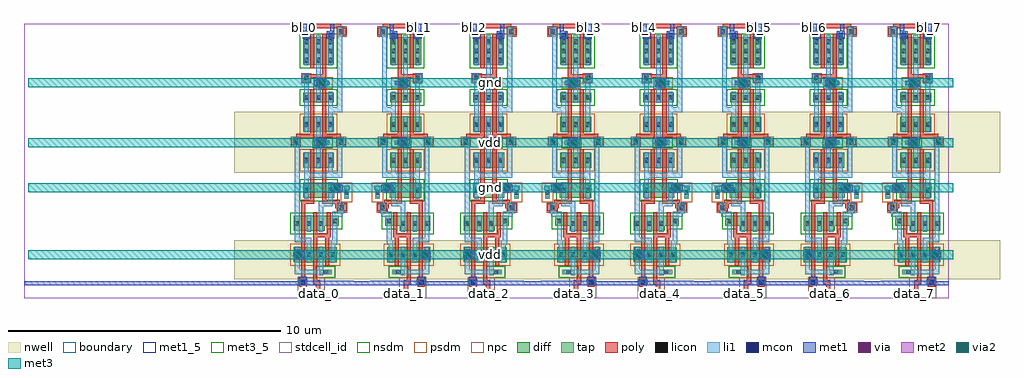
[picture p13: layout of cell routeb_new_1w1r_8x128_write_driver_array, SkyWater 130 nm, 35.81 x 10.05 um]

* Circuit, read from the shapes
.subckt routeb_new_1w1r_8x128_write_driver_array bl_0 bl_1 bl_2 bl_3 bl_4 bl_5 bl_6 bl_7 br_0 br_1 br_2 br_3 br_4 br_5 br_6 br_7 data_0 data_1 data_2 data_3 data_4 data_5 data_6 data_7 en gnd vdd
XM1 n1 en n2 gnd sky130_fd_pr__nfet_01v8 w=0.55 l=0.15
XM2 n3 en n4 gnd sky130_fd_pr__nfet_01v8 w=0.55 l=0.15
XM3 gnd n2 n5 gnd sky130_fd_pr__nfet_01v8 w=0.36 l=0.15
XM4 gnd n6 bl_0 gnd sky130_fd_pr__nfet_01v8 w=1 l=0.15
XM5 gnd data_0 n1 gnd sky130_fd_pr__nfet_01v8 w=0.55 l=0.15
XM6 gnd n7 n3 gnd sky130_fd_pr__nfet_01v8 w=0.55 l=0.15
XM7 n6 n4 gnd gnd sky130_fd_pr__nfet_01v8 w=0.36 l=0.15
XM8 br_0 n5 gnd gnd sky130_fd_pr__nfet_01v8 w=1 l=0.15
XM9 n7 data_0 gnd gnd sky130_fd_pr__nfet_01v8 w=0.36 l=0.15
XM10 gnd data_1 n8 gnd sky130_fd_pr__nfet_01v8 w=0.36 l=0.15
XM11 n9 n8 gnd gnd sky130_fd_pr__nfet_01v8 w=0.55 l=0.15
XM12 gnd n10 n11 gnd sky130_fd_pr__nfet_01v8 w=0.36 l=0.15
XM13 gnd n12 br_1 gnd sky130_fd_pr__nfet_01v8 w=1 l=0.15
XM14 n13 data_1 gnd gnd sky130_fd_pr__nfet_01v8 w=0.55 l=0.15
XM15 n10 en n9 gnd sky130_fd_pr__nfet_01v8 w=0.55 l=0.15
XM16 n12 n14 gnd gnd sky130_fd_pr__nfet_01v8 w=0.36 l=0.15
XM17 bl_1 n11 gnd gnd sky130_fd_pr__nfet_01v8 w=1 l=0.15
XM18 n14 en n13 gnd sky130_fd_pr__nfet_01v8 w=0.55 l=0.15
XM19 n15 en n16 gnd sky130_fd_pr__nfet_01v8 w=0.55 l=0.15
XM20 n17 en n18 gnd sky130_fd_pr__nfet_01v8 w=0.55 l=0.15
XM21 gnd n16 n19 gnd sky130_fd_pr__nfet_01v8 w=0.36 l=0.15
XM22 gnd n20 bl_2 gnd sky130_fd_pr__nfet_01v8 w=1 l=0.15
XM23 gnd data_2 n15 gnd sky130_fd_pr__nfet_01v8 w=0.55 l=0.15
XM24 gnd n21 n17 gnd sky130_fd_pr__nfet_01v8 w=0.55 l=0.15
XM25 n20 n18 gnd gnd sky130_fd_pr__nfet_01v8 w=0.36 l=0.15
XM26 br_2 n19 gnd gnd sky130_fd_pr__nfet_01v8 w=1 l=0.15
XM27 n21 data_2 gnd gnd sky130_fd_pr__nfet_01v8 w=0.36 l=0.15
XM28 gnd data_3 n22 gnd sky130_fd_pr__nfet_01v8 w=0.36 l=0.15
XM29 n23 n22 gnd gnd sky130_fd_pr__nfet_01v8 w=0.55 l=0.15
XM30 gnd n24 n25 gnd sky130_fd_pr__nfet_01v8 w=0.36 l=0.15
XM31 gnd n26 br_3 gnd sky130_fd_pr__nfet_01v8 w=1 l=0.15
XM32 n27 data_3 gnd gnd sky130_fd_pr__nfet_01v8 w=0.55 l=0.15
XM33 n24 en n23 gnd sky130_fd_pr__nfet_01v8 w=0.55 l=0.15
XM34 n26 n28 gnd gnd sky130_fd_pr__nfet_01v8 w=0.36 l=0.15
XM35 bl_3 n25 gnd gnd sky130_fd_pr__nfet_01v8 w=1 l=0.15
XM36 n28 en n27 gnd sky130_fd_pr__nfet_01v8 w=0.55 l=0.15
XM37 n29 en n30 gnd sky130_fd_pr__nfet_01v8 w=0.55 l=0.15
XM38 n31 en n32 gnd sky130_fd_pr__nfet_01v8 w=0.55 l=0.15
XM39 gnd n30 n33 gnd sky130_fd_pr__nfet_01v8 w=0.36 l=0.15
XM40 gnd n34 bl_4 gnd sky130_fd_pr__nfet_01v8 w=1 l=0.15
XM41 gnd data_4 n29 gnd sky130_fd_pr__nfet_01v8 w=0.55 l=0.15
XM42 gnd n35 n31 gnd sky130_fd_pr__nfet_01v8 w=0.55 l=0.15
XM43 n34 n32 gnd gnd sky130_fd_pr__nfet_01v8 w=0.36 l=0.15
XM44 br_4 n33 gnd gnd sky130_fd_pr__nfet_01v8 w=1 l=0.15
XM45 n35 data_4 gnd gnd sky130_fd_pr__nfet_01v8 w=0.36 l=0.15
XM46 gnd data_5 n36 gnd sky130_fd_pr__nfet_01v8 w=0.36 l=0.15
XM47 n37 n36 gnd gnd sky130_fd_pr__nfet_01v8 w=0.55 l=0.15
XM48 gnd n38 n39 gnd sky130_fd_pr__nfet_01v8 w=0.36 l=0.15
XM49 gnd n40 br_5 gnd sky130_fd_pr__nfet_01v8 w=1 l=0.15
XM50 n41 data_5 gnd gnd sky130_fd_pr__nfet_01v8 w=0.55 l=0.15
XM51 n38 en n37 gnd sky130_fd_pr__nfet_01v8 w=0.55 l=0.15
XM52 n40 n42 gnd gnd sky130_fd_pr__nfet_01v8 w=0.36 l=0.15
XM53 bl_5 n39 gnd gnd sky130_fd_pr__nfet_01v8 w=1 l=0.15
XM54 n42 en n41 gnd sky130_fd_pr__nfet_01v8 w=0.55 l=0.15
XM55 n43 en n44 gnd sky130_fd_pr__nfet_01v8 w=0.55 l=0.15
XM56 n45 en n46 gnd sky130_fd_pr__nfet_01v8 w=0.55 l=0.15
XM57 gnd n44 n47 gnd sky130_fd_pr__nfet_01v8 w=0.36 l=0.15
XM58 gnd n48 bl_6 gnd sky130_fd_pr__nfet_01v8 w=1 l=0.15
XM59 gnd data_6 n43 gnd sky130_fd_pr__nfet_01v8 w=0.55 l=0.15
XM60 gnd n49 n45 gnd sky130_fd_pr__nfet_01v8 w=0.55 l=0.15
XM61 n48 n46 gnd gnd sky130_fd_pr__nfet_01v8 w=0.36 l=0.15
XM62 br_6 n47 gnd gnd sky130_fd_pr__nfet_01v8 w=1 l=0.15
XM63 n49 data_6 gnd gnd sky130_fd_pr__nfet_01v8 w=0.36 l=0.15
XM64 gnd data_7 n50 gnd sky130_fd_pr__nfet_01v8 w=0.36 l=0.15
XM65 n51 n50 gnd gnd sky130_fd_pr__nfet_01v8 w=0.55 l=0.15
XM66 gnd n52 n53 gnd sky130_fd_pr__nfet_01v8 w=0.36 l=0.15
XM67 gnd n54 br_7 gnd sky130_fd_pr__nfet_01v8 w=1 l=0.15
XM68 n55 data_7 gnd gnd sky130_fd_pr__nfet_01v8 w=0.55 l=0.15
XM69 n52 en n51 gnd sky130_fd_pr__nfet_01v8 w=0.55 l=0.15
XM70 n54 n56 gnd gnd sky130_fd_pr__nfet_01v8 w=0.36 l=0.15
XM71 bl_7 n53 gnd gnd sky130_fd_pr__nfet_01v8 w=1 l=0.15
XM72 n56 en n55 gnd sky130_fd_pr__nfet_01v8 w=0.55 l=0.15
XM73 n2 en vdd vdd sky130_fd_pr__pfet_01v8 w=0.55 l=0.15
XM74 vdd en n4 vdd sky130_fd_pr__pfet_01v8 w=0.55 l=0.15
XM75 vdd n2 n5 vdd sky130_fd_pr__pfet_01v8 w=0.55 l=0.15
XM76 vdd data_0 n2 vdd sky130_fd_pr__pfet_01v8 w=0.55 l=0.15
XM77 n4 n7 vdd vdd sky130_fd_pr__pfet_01v8 w=0.55 l=0.15
XM78 n6 n4 vdd vdd sky130_fd_pr__pfet_01v8 w=0.55 l=0.15
XM79 n7 data_0 vdd vdd sky130_fd_pr__pfet_01v8 w=0.55 l=0.15
XM80 vdd data_1 n8 vdd sky130_fd_pr__pfet_01v8 w=0.55 l=0.15
XM81 vdd n8 n10 vdd sky130_fd_pr__pfet_01v8 w=0.55 l=0.15
XM82 vdd n10 n11 vdd sky130_fd_pr__pfet_01v8 w=0.55 l=0.15
XM83 n14 data_1 vdd vdd sky130_fd_pr__pfet_01v8 w=0.55 l=0.15
XM84 n10 en vdd vdd sky130_fd_pr__pfet_01v8 w=0.55 l=0.15
XM85 n12 n14 vdd vdd sky130_fd_pr__pfet_01v8 w=0.55 l=0.15
XM86 vdd en n14 vdd sky130_fd_pr__pfet_01v8 w=0.55 l=0.15
XM87 n16 en vdd vdd sky130_fd_pr__pfet_01v8 w=0.55 l=0.15
XM88 vdd en n18 vdd sky130_fd_pr__pfet_01v8 w=0.55 l=0.15
XM89 vdd n16 n19 vdd sky130_fd_pr__pfet_01v8 w=0.55 l=0.15
XM90 vdd data_2 n16 vdd sky130_fd_pr__pfet_01v8 w=0.55 l=0.15
XM91 n18 n21 vdd vdd sky130_fd_pr__pfet_01v8 w=0.55 l=0.15
XM92 n20 n18 vdd vdd sky130_fd_pr__pfet_01v8 w=0.55 l=0.15
XM93 n21 data_2 vdd vdd sky130_fd_pr__pfet_01v8 w=0.55 l=0.15
XM94 vdd data_3 n22 vdd sky130_fd_pr__pfet_01v8 w=0.55 l=0.15
XM95 vdd n22 n24 vdd sky130_fd_pr__pfet_01v8 w=0.55 l=0.15
XM96 vdd n24 n25 vdd sky130_fd_pr__pfet_01v8 w=0.55 l=0.15
XM97 n28 data_3 vdd vdd sky130_fd_pr__pfet_01v8 w=0.55 l=0.15
XM98 n24 en vdd vdd sky130_fd_pr__pfet_01v8 w=0.55 l=0.15
XM99 n26 n28 vdd vdd sky130_fd_pr__pfet_01v8 w=0.55 l=0.15
XM100 vdd en n28 vdd sky130_fd_pr__pfet_01v8 w=0.55 l=0.15
XM101 n30 en vdd vdd sky130_fd_pr__pfet_01v8 w=0.55 l=0.15
XM102 vdd en n32 vdd sky130_fd_pr__pfet_01v8 w=0.55 l=0.15
XM103 vdd n30 n33 vdd sky130_fd_pr__pfet_01v8 w=0.55 l=0.15
XM104 vdd data_4 n30 vdd sky130_fd_pr__pfet_01v8 w=0.55 l=0.15
XM105 n32 n35 vdd vdd sky130_fd_pr__pfet_01v8 w=0.55 l=0.15
XM106 n34 n32 vdd vdd sky130_fd_pr__pfet_01v8 w=0.55 l=0.15
XM107 n35 data_4 vdd vdd sky130_fd_pr__pfet_01v8 w=0.55 l=0.15
XM108 vdd data_5 n36 vdd sky130_fd_pr__pfet_01v8 w=0.55 l=0.15
XM109 vdd n36 n38 vdd sky130_fd_pr__pfet_01v8 w=0.55 l=0.15
XM110 vdd n38 n39 vdd sky130_fd_pr__pfet_01v8 w=0.55 l=0.15
XM111 n42 data_5 vdd vdd sky130_fd_pr__pfet_01v8 w=0.55 l=0.15
XM112 n38 en vdd vdd sky130_fd_pr__pfet_01v8 w=0.55 l=0.15
XM113 n40 n42 vdd vdd sky130_fd_pr__pfet_01v8 w=0.55 l=0.15
XM114 vdd en n42 vdd sky130_fd_pr__pfet_01v8 w=0.55 l=0.15
XM115 n44 en vdd vdd sky130_fd_pr__pfet_01v8 w=0.55 l=0.15
XM116 vdd en n46 vdd sky130_fd_pr__pfet_01v8 w=0.55 l=0.15
XM117 vdd n44 n47 vdd sky130_fd_pr__pfet_01v8 w=0.55 l=0.15
XM118 vdd data_6 n44 vdd sky130_fd_pr__pfet_01v8 w=0.55 l=0.15
XM119 n46 n49 vdd vdd sky130_fd_pr__pfet_01v8 w=0.55 l=0.15
XM120 n48 n46 vdd vdd sky130_fd_pr__pfet_01v8 w=0.55 l=0.15
XM121 n49 data_6 vdd vdd sky130_fd_pr__pfet_01v8 w=0.55 l=0.15
XM122 vdd data_7 n50 vdd sky130_fd_pr__pfet_01v8 w=0.55 l=0.15
XM123 vdd n50 n52 vdd sky130_fd_pr__pfet_01v8 w=0.55 l=0.15
XM124 vdd n52 n53 vdd sky130_fd_pr__pfet_01v8 w=0.55 l=0.15
XM125 n56 data_7 vdd vdd sky130_fd_pr__pfet_01v8 w=0.55 l=0.15
XM126 n52 en vdd vdd sky130_fd_pr__pfet_01v8 w=0.55 l=0.15
XM127 n54 n56 vdd vdd sky130_fd_pr__pfet_01v8 w=0.55 l=0.15
XM128 vdd en n56 vdd sky130_fd_pr__pfet_01v8 w=0.55 l=0.15
.ends

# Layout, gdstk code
from math import pi, radians
import gdstk
lib = gdstk.Library(unit=1e-6, precision=1e-09)
def R(c, l, rs):  # rectangles x0, y0, x1, y1
    for r in rs: c.add(gdstk.rectangle(r[:2], r[2:], *l))
def A(c, l, x, y, w, h, nx, ny, dx, dy):  # array of equal rectangles
    R(c, l, [(x+i*dx, y+j*dy, x+i*dx+w, y+j*dy+h) for i in range(nx) for j in range(ny)])
nwell = (64, 20)
diff = (65, 20)
tap = (65, 44)
poly = (66, 20)
licon = (66, 44)
li1 = (67, 20)
mcon = (67, 44)
met1_5 = (68, 5)
met1 = (68, 20)
via = (68, 44)
met2 = (69, 20)
via2 = (69, 44)
met3_5 = (70, 5)
met3 = (70, 20)
stdcell_id = (81, 4)
nsdm = (93, 44)
psdm = (94, 20)
npc = (95, 20)
boundary = (235, 4)

sky130_fd_bd_sram__openr = lib.new_cell('sky130_fd_bd_sram__openram_write_driver')
R(sky130_fd_bd_sram__openr, nwell, [(-1.88,0.69,4.4,2.12), (-1.88,4.6,4.4,6.83)])
R(sky130_fd_bd_sram__openr, diff, [(0.305,1.31,1.88,1.86), (0.305,2.46,1.435,2.65), (0.305,2.65,1.955,3.01), (0.645,3.68,1.795,4.23), (0.645,4.78,1.78,5.33), (0.645,6.095,1.775,6.645), (0.645,7.175,1.775,7.535), (0.645,8.565,1.775,9.565)])
R(sky130_fd_bd_sram__openr, tap, [(1.245,0.87,1.705,1.04), (2.155,3.64,2.325,4.1), (1.125,5.62,1.605,5.79), (1.145,7.805,1.605,7.975)])
R(sky130_fd_bd_sram__openr, poly, [(1.115,0.02,1.425,0.32), (1.115,0.32,1.275,0.5), (0.505,0.42,0.775,0.74), (1.015,0.5,1.275,0.65), (1.015,0.65,1.165,2.23), (0.505,0.74,0.725,0.75), (0.575,0.75,0.725,3.45), (1.455,1.18,1.605,2.23), (1.015,2.23,1.665,2.38), (1.015,2.38,1.165,3.14), (1.515,2.38,1.665,3.14), (1.875,3.18,2.245,3.3), (1.825,3.3,2.245,3.45), (0.575,3.45,1.065,3.6), (1.355,3.45,1.995,3.6), (0.915,3.6,1.065,5.46), (1.355,3.6,1.505,5.46), (0.205,5.6,0.54,5.87), (1.885,5.6,2.215,5.72), (1.88,5.72,2.215,5.87), (0.39,5.87,1.065,6.02), (1.355,5.87,2.03,6.02), (0.915,6.02,1.065,7.665), (1.355,6.02,1.505,7.665), (0.605,7.925,0.935,8.055), (0.605,8.055,1.505,8.205), (1.355,8.205,1.505,9.695), (0.915,8.435,1.065,9.905), (1.895,9.645,2.225,9.905), (0.915,9.905,2.225,9.915), (0.915,9.915,2.045,10.055)])
A(sky130_fd_bd_sram__openr, licon, 0.345, 1.5, 0.17, 0.17, 4, 1, 0.44, 0)
A(sky130_fd_bd_sram__openr, licon, 0.345, 2.65, 0.17, 0.17, 3, 1, 0.44, 0)
A(sky130_fd_bd_sram__openr, licon, 0.685, 4.97, 0.17, 0.17, 3, 2, 0.44, 1.315)
A(sky130_fd_bd_sram__openr, licon, 0.685, 7.275, 0.17, 0.17, 3, 2, 0.44, 1.365)
A(sky130_fd_bd_sram__openr, licon, 0.685, 8.98, 0.17, 0.17, 3, 2, 0.44, 0.34)
R(sky130_fd_bd_sram__openr, licon, [(1.175,0.1,1.345,0.27), (0.555,0.5,0.725,0.67), (1.395,0.87,1.565,1.04), (1.725,2.745,1.895,2.915), (1.995,3.23,2.165,3.4), (2.155,3.78,2.325,3.95), (0.685,3.87,0.855,4.04), (1.565,3.87,1.735,4.04), (1.295,5.62,1.465,5.79), (0.285,5.65,0.455,5.82), (1.965,5.65,2.135,5.82), (1.295,7.805,1.465,7.975), (0.685,7.985,0.855,8.155), (1.975,9.695,2.145,9.865)])
R(sky130_fd_bd_sram__openr, li1, [(1.095,0.1,1.425,0.27), (0.47,0.5,0.805,0.67), (1.225,0.84,1.395,0.87), (0.345,0.87,1.645,1.04), (0.345,1.04,0.515,1.88), (1.225,1.04,1.395,1.88), (0.785,1.29,0.955,2.05), (1.665,1.29,1.835,1.95), (1.665,1.95,1.895,2.12), (0.345,2.05,0.955,2.22), (1.725,2.12,1.895,2.89), (0.345,2.22,0.515,5.57), (0.785,2.44,0.955,3.03), (1.225,2.44,1.395,3.4), (1.725,2.89,1.955,2.99), (1.725,2.99,2.105,3.11), (1.725,3.11,2.165,3.16), (1.935,3.16,2.165,3.49), (1.225,3.375,1.735,3.545), (1.565,3.4,1.735,3.95), (0.685,3.65,0.855,4.42), (2.155,3.7,2.325,3.95), (1.565,3.95,2.355,4.12), (1.565,4.12,1.735,4.25), (0.685,4.42,2.075,4.59), (0.685,4.59,0.855,5.35), (1.565,4.59,1.735,5.35), (1.905,4.59,2.075,5.57), (1.125,4.76,1.295,5.62), (0.285,5.57,0.515,5.9), (1.905,5.57,2.135,5.9), (1.125,5.62,1.545,5.79), (1.125,5.79,1.295,6.665), (0.685,6.08,0.855,7.9), (1.565,6.08,1.735,6.825), (1.565,6.825,2.075,6.995), (1.565,6.995,1.735,7.565), (1.905,6.995,2.075,9.615), (1.125,7.165,1.295,7.805), (1.125,7.805,1.545,7.975), (0.585,7.9,0.855,8.235), (1.125,7.975,1.295,9.635), (0.685,8.545,0.855,9.735), (1.565,8.545,1.735,9.735), (1.905,9.615,2.145,9.945)])
R(sky130_fd_bd_sram__openr, mcon, [(1.175,0.1,1.345,0.27), (0.555,0.5,0.725,0.67), (0.345,1.5,0.515,1.67), (1.8,3.95,1.97,4.12), (1.125,5.62,1.295,5.79), (1.125,7.805,1.295,7.975), (0.685,9.565,0.855,9.735), (1.565,9.565,1.735,9.735)])
R(sky130_fd_bd_sram__openr, met1_5, [(1.115,0.02,1.415,0.3), (0.495,0.47,2.5,0.64), (0.285,1.47,0.715,1.7), (1.67,3.945,2.1,4.15), (1.065,5.59,1.495,5.82), (1.065,7.805,1.605,7.975), (0.63,9.795,0.78,10.055), (1.64,9.795,1.79,10.055)])
R(sky130_fd_bd_sram__openr, met1, [(1.115,0.02,1.415,0.3), (1.115,0.02,1.415,0.3), (0.495,0.47,2.5,0.64), (0.495,0.47,2.5,0.64), (0.495,0.64,0.785,0.78), (0.285,1.47,0.715,1.7), (0.285,1.47,0.715,1.7), (1.735,3.92,2.1,3.945), (1.67,3.945,2.1,4.15), (1.67,3.945,2.1,4.15), (1.065,5.59,1.495,5.82), (1.065,5.59,1.495,5.82), (1.065,7.775,1.495,7.805), (1.065,7.805,1.605,7.975), (1.065,7.805,1.605,7.975), (1.065,7.975,1.495,8.005), (0.625,9.505,0.91,9.795), (1.51,9.505,1.795,9.795), (0.63,9.795,0.78,10.055), (0.63,9.795,0.78,10.055), (1.64,9.795,1.79,10.055), (1.64,9.795,1.79,10.055)])
R(sky130_fd_bd_sram__openr, stdcell_id, [(0,0,2.5,10.055)])
R(sky130_fd_bd_sram__openr, nsdm, [(1.12,0.745,1.83,1.165), (0.18,2.335,1.56,2.525), (0.18,2.525,2.08,3.135), (0.52,3.555,1.92,4.355), (1,5.495,1.73,5.915), (0.52,7.05,1.9,7.66), (0.52,8.44,1.9,9.69)])
R(sky130_fd_bd_sram__openr, psdm, [(0.18,1.185,2.005,1.985), (2.03,3.515,2.45,4.225), (0.52,4.655,1.905,5.455), (0.52,5.97,1.9,6.77), (1.02,7.68,1.73,8.1)])
R(sky130_fd_bd_sram__openr, npc, [(0.455,0,1.445,0.77), (1.895,3.13,2.265,3.5), (0.185,5.55,0.555,5.92), (1.865,5.55,2.235,5.92), (0.585,7.885,0.955,8.255), (1.875,9.595,2.245,9.965)])
R(sky130_fd_bd_sram__openr, boundary, [(0,0,2.5,10.055)])
sky130_fd_bd_sram__openr.add(gdstk.Label('DIN', (1.265,0.06), layer=68, texttype=16))
sky130_fd_bd_sram__openr.add(gdstk.Label('VDD', (0.54,1.585), layer=68, texttype=16))
sky130_fd_bd_sram__openr.add(gdstk.Label('BL', (0.7,9.905), layer=68, texttype=16))
sky130_fd_bd_sram__openr.add(gdstk.Label('BR', (1.7,9.865), layer=68, texttype=16))
sky130_fd_bd_sram__openr.add(gdstk.Label('EN', (0.53,0.59), layer=68, texttype=16))
sky130_fd_bd_sram__openr.add(gdstk.Label('GND', (1.965,4.135), layer=68, texttype=16))
sky130_fd_bd_sram__openr.add(gdstk.Label('GND', (1.1,7.885), layer=68, texttype=16))
sky130_fd_bd_sram__openr.add(gdstk.Label('VDD', (1.1,5.7), layer=68, texttype=16))
sky130_fd_bd_sram__openr.add(gdstk.Label('din', (1.265,0.16), layer=68, texttype=5))
sky130_fd_bd_sram__openr.add(gdstk.Label('bl', (0.705,9.925), layer=68, texttype=5))
sky130_fd_bd_sram__openr.add(gdstk.Label('br', (1.715,9.925), layer=68, texttype=5))
sky130_fd_bd_sram__openr.add(gdstk.Label('en', (1.498,0.555), layer=68, texttype=5))
sky130_fd_bd_sram__openr.add(gdstk.Label('vdd', (0.5,1.585), layer=68, texttype=5))
sky130_fd_bd_sram__openr.add(gdstk.Label('vdd', (1.28,5.705), layer=68, texttype=5))
sky130_fd_bd_sram__openr.add(gdstk.Label('gnd', (1.885,4.048), layer=68, texttype=5))
sky130_fd_bd_sram__openr.add(gdstk.Label('gnd', (1.335,7.89), layer=68, texttype=5))

routeb_new_1w1r_8x128_co = lib.new_cell('routeb_new_1w1r_8x128_contact_18')
R(routeb_new_1w1r_8x128_co, met1, [(0,0.03,0.32,0.29)])
R(routeb_new_1w1r_8x128_co, via, [(0.085,0.085,0.235,0.235)])
R(routeb_new_1w1r_8x128_co, met2, [(0.03,0,0.29,0.32)])
R(routeb_new_1w1r_8x128_co, stdcell_id, [(0,0,0.32,0.32)])
R(routeb_new_1w1r_8x128_co, boundary, [(0,0,0.32,0.32)])

c_routeb_new_1w1r_8x128_co = lib.new_cell('routeb_new_1w1r_8x128_contact_21')
R(c_routeb_new_1w1r_8x128_co, met2, [(0.025,0,0.305,0.37)])
R(c_routeb_new_1w1r_8x128_co, via2, [(0.065,0.085,0.265,0.285)])
R(c_routeb_new_1w1r_8x128_co, met3, [(0,0.02,0.33,0.35)])
R(c_routeb_new_1w1r_8x128_co, stdcell_id, [(0,0,0.33,0.37)])
R(c_routeb_new_1w1r_8x128_co, boundary, [(0,0,0.33,0.37)])

routeb_new_1w1r_8x128_wr = lib.new_cell('routeb_new_1w1r_8x128_write_driver_array')
R(routeb_new_1w1r_8x128_wr, met1_5, [(10.71,0.02,11.01,0.3), (13.8,0.02,14.1,0.3), (16.95,0.02,17.25,0.3), (20.04,0.02,20.34,0.3), (23.19,0.02,23.49,0.3), (26.28,0.02,26.58,0.3), (29.43,0.02,29.73,0.3), (32.52,0.02,32.82,0.3), (0,0.47,33.935,0.61), (10.225,9.795,10.375,10.055), (11.235,9.795,11.385,10.055), (13.425,9.795,13.575,10.055), (14.435,9.795,14.585,10.055), (16.465,9.795,16.615,10.055), (17.475,9.795,17.625,10.055), (19.665,9.795,19.815,10.055), (20.675,9.795,20.825,10.055), (22.705,9.795,22.855,10.055), (23.715,9.795,23.865,10.055), (25.905,9.795,26.055,10.055), (26.915,9.795,27.065,10.055), (28.945,9.795,29.095,10.055), (29.955,9.795,30.105,10.055), (32.145,9.795,32.295,10.055), (33.155,9.795,33.305,10.055)])
R(routeb_new_1w1r_8x128_wr, met1, [(10.71,0.02,11.01,0.3), (13.8,0.02,14.1,0.3), (16.95,0.02,17.25,0.3), (20.04,0.02,20.34,0.3), (23.19,0.02,23.49,0.3), (26.28,0.02,26.58,0.3), (29.43,0.02,29.73,0.3), (32.52,0.02,32.82,0.3), (0,0.47,33.935,0.61), (9.935,1.455,10.255,1.715), (14.555,1.455,14.875,1.715), (16.175,1.455,16.495,1.715), (20.795,1.455,21.115,1.715), (22.415,1.455,22.735,1.715), (27.035,1.455,27.355,1.715), (28.655,1.455,28.975,1.715), (33.275,1.455,33.595,1.715), (11.32,3.92,11.64,4.18), (13.17,3.92,13.49,4.18), (17.56,3.92,17.88,4.18), (19.41,3.92,19.73,4.18), (23.8,3.92,24.12,4.18), (25.65,3.92,25.97,4.18), (30.04,3.92,30.36,4.18), (31.89,3.92,32.21,4.18), (10.715,5.575,11.035,5.835), (13.775,5.575,14.095,5.835), (16.955,5.575,17.275,5.835), (20.015,5.575,20.335,5.835), (23.195,5.575,23.515,5.835), (26.255,5.575,26.575,5.835), (29.435,5.575,29.755,5.835), (32.495,5.575,32.815,5.835), (10.77,7.76,11.09,8.02), (13.72,7.76,14.04,8.02), (17.01,7.76,17.33,8.02), (19.96,7.76,20.28,8.02), (23.25,7.76,23.57,8.02), (26.2,7.76,26.52,8.02), (29.49,7.76,29.81,8.02), (32.44,7.76,32.76,8.02), (10.225,9.795,10.375,10.055), (11.235,9.795,11.385,10.055), (13.425,9.795,13.575,10.055), (14.435,9.795,14.585,10.055), (16.465,9.795,16.615,10.055), (17.475,9.795,17.625,10.055), (19.665,9.795,19.815,10.055), (20.675,9.795,20.825,10.055), (22.705,9.795,22.855,10.055), (23.715,9.795,23.865,10.055), (25.905,9.795,26.055,10.055), (26.915,9.795,27.065,10.055), (28.945,9.795,29.095,10.055), (29.955,9.795,30.105,10.055), (32.145,9.795,32.295,10.055), (33.155,9.795,33.305,10.055)])
R(routeb_new_1w1r_8x128_wr, met2, [(9.955,1.46,10.235,1.705), (14.575,1.46,14.855,1.705), (16.195,1.46,16.475,1.705), (20.815,1.46,21.095,1.705), (22.435,1.46,22.715,1.705), (27.055,1.46,27.335,1.705), (28.675,1.46,28.955,1.705), (33.295,1.46,33.575,1.705), (11.34,3.925,11.62,4.17), (13.19,3.925,13.47,4.17), (17.58,3.925,17.86,4.17), (19.43,3.925,19.71,4.17), (23.82,3.925,24.1,4.17), (25.67,3.925,25.95,4.17), (30.06,3.925,30.34,4.17), (31.91,3.925,32.19,4.17), (10.735,5.58,11.015,5.825), (13.795,5.58,14.075,5.825), (16.975,5.58,17.255,5.825), (20.035,5.58,20.315,5.825), (23.215,5.58,23.495,5.825), (26.275,5.58,26.555,5.825), (29.455,5.58,29.735,5.825), (32.515,5.58,32.795,5.825), (10.79,7.77,11.07,8.015), (13.74,7.77,14.02,8.015), (17.03,7.77,17.31,8.015), (19.98,7.77,20.26,8.015), (23.27,7.77,23.55,8.015), (26.22,7.77,26.5,8.015), (29.51,7.77,29.79,8.015), (32.46,7.77,32.74,8.015)])
R(routeb_new_1w1r_8x128_wr, met3_5, [(0.165,1.42,34.1,1.75), (0.165,3.88,34.1,4.21), (0.165,5.54,34.1,5.87), (0.165,7.725,34.1,8.055)])
R(routeb_new_1w1r_8x128_wr, met3, [(0.165,1.42,34.1,1.75), (0.165,3.88,34.1,4.21), (0.165,5.54,34.1,5.87), (0.165,7.725,34.1,8.055)])
R(routeb_new_1w1r_8x128_wr, stdcell_id, [(0,0,33.935,10.055)])
R(routeb_new_1w1r_8x128_wr, boundary, [(0,0,33.935,10.055)])
routeb_new_1w1r_8x128_wr.add(gdstk.Reference(sky130_fd_bd_sram__openr, (9.595,0)))
routeb_new_1w1r_8x128_wr.add(gdstk.Reference(sky130_fd_bd_sram__openr, (15.215,0), rotation=pi, x_reflection=True))
routeb_new_1w1r_8x128_wr.add(gdstk.Reference(sky130_fd_bd_sram__openr, (15.835,0)))
routeb_new_1w1r_8x128_wr.add(gdstk.Reference(sky130_fd_bd_sram__openr, (21.455,0), rotation=pi, x_reflection=True))
routeb_new_1w1r_8x128_wr.add(gdstk.Reference(sky130_fd_bd_sram__openr, (22.075,0)))
routeb_new_1w1r_8x128_wr.add(gdstk.Reference(sky130_fd_bd_sram__openr, (27.695,0), rotation=pi, x_reflection=True))
routeb_new_1w1r_8x128_wr.add(gdstk.Reference(sky130_fd_bd_sram__openr, (28.315,0)))
routeb_new_1w1r_8x128_wr.add(gdstk.Reference(sky130_fd_bd_sram__openr, (33.935,0), rotation=pi, x_reflection=True))
routeb_new_1w1r_8x128_wr.add(gdstk.Reference(routeb_new_1w1r_8x128_co, (9.935,1.425)))
routeb_new_1w1r_8x128_wr.add(gdstk.Reference(c_routeb_new_1w1r_8x128_co, (9.93,1.4)))
routeb_new_1w1r_8x128_wr.add(gdstk.Reference(routeb_new_1w1r_8x128_co, (14.555,1.425)))
routeb_new_1w1r_8x128_wr.add(gdstk.Reference(c_routeb_new_1w1r_8x128_co, (14.55,1.4)))
routeb_new_1w1r_8x128_wr.add(gdstk.Reference(routeb_new_1w1r_8x128_co, (16.175,1.425)))
routeb_new_1w1r_8x128_wr.add(gdstk.Reference(c_routeb_new_1w1r_8x128_co, (16.17,1.4)))
routeb_new_1w1r_8x128_wr.add(gdstk.Reference(routeb_new_1w1r_8x128_co, (20.795,1.425)))
routeb_new_1w1r_8x128_wr.add(gdstk.Reference(c_routeb_new_1w1r_8x128_co, (20.79,1.4)))
routeb_new_1w1r_8x128_wr.add(gdstk.Reference(routeb_new_1w1r_8x128_co, (22.415,1.425)))
routeb_new_1w1r_8x128_wr.add(gdstk.Reference(c_routeb_new_1w1r_8x128_co, (22.41,1.4)))
routeb_new_1w1r_8x128_wr.add(gdstk.Reference(routeb_new_1w1r_8x128_co, (27.035,1.425)))
routeb_new_1w1r_8x128_wr.add(gdstk.Reference(c_routeb_new_1w1r_8x128_co, (27.03,1.4)))
routeb_new_1w1r_8x128_wr.add(gdstk.Reference(routeb_new_1w1r_8x128_co, (28.655,1.425)))
routeb_new_1w1r_8x128_wr.add(gdstk.Reference(c_routeb_new_1w1r_8x128_co, (28.65,1.4)))
routeb_new_1w1r_8x128_wr.add(gdstk.Reference(routeb_new_1w1r_8x128_co, (33.275,1.425)))
routeb_new_1w1r_8x128_wr.add(gdstk.Reference(c_routeb_new_1w1r_8x128_co, (33.27,1.4)))
routeb_new_1w1r_8x128_wr.add(gdstk.Reference(routeb_new_1w1r_8x128_co, (10.715,5.545)))
routeb_new_1w1r_8x128_wr.add(gdstk.Reference(c_routeb_new_1w1r_8x128_co, (10.71,5.52)))
routeb_new_1w1r_8x128_wr.add(gdstk.Reference(routeb_new_1w1r_8x128_co, (13.775,5.545)))
routeb_new_1w1r_8x128_wr.add(gdstk.Reference(c_routeb_new_1w1r_8x128_co, (13.77,5.52)))
routeb_new_1w1r_8x128_wr.add(gdstk.Reference(routeb_new_1w1r_8x128_co, (16.955,5.545)))
routeb_new_1w1r_8x128_wr.add(gdstk.Reference(c_routeb_new_1w1r_8x128_co, (16.95,5.52)))
routeb_new_1w1r_8x128_wr.add(gdstk.Reference(routeb_new_1w1r_8x128_co, (20.015,5.545)))
routeb_new_1w1r_8x128_wr.add(gdstk.Reference(c_routeb_new_1w1r_8x128_co, (20.01,5.52)))
routeb_new_1w1r_8x128_wr.add(gdstk.Reference(routeb_new_1w1r_8x128_co, (23.195,5.545)))
routeb_new_1w1r_8x128_wr.add(gdstk.Reference(c_routeb_new_1w1r_8x128_co, (23.19,5.52)))
routeb_new_1w1r_8x128_wr.add(gdstk.Reference(routeb_new_1w1r_8x128_co, (26.255,5.545)))
routeb_new_1w1r_8x128_wr.add(gdstk.Reference(c_routeb_new_1w1r_8x128_co, (26.25,5.52)))
routeb_new_1w1r_8x128_wr.add(gdstk.Reference(routeb_new_1w1r_8x128_co, (29.435,5.545)))
routeb_new_1w1r_8x128_wr.add(gdstk.Reference(c_routeb_new_1w1r_8x128_co, (29.43,5.52)))
routeb_new_1w1r_8x128_wr.add(gdstk.Reference(routeb_new_1w1r_8x128_co, (32.495,5.545)))
routeb_new_1w1r_8x128_wr.add(gdstk.Reference(c_routeb_new_1w1r_8x128_co, (32.49,5.52)))
routeb_new_1w1r_8x128_wr.add(gdstk.Reference(routeb_new_1w1r_8x128_co, (11.32,3.89)))
routeb_new_1w1r_8x128_wr.add(gdstk.Reference(c_routeb_new_1w1r_8x128_co, (11.315,3.86)))
routeb_new_1w1r_8x128_wr.add(gdstk.Reference(routeb_new_1w1r_8x128_co, (13.17,3.89)))
routeb_new_1w1r_8x128_wr.add(gdstk.Reference(c_routeb_new_1w1r_8x128_co, (13.165,3.86)))
routeb_new_1w1r_8x128_wr.add(gdstk.Reference(routeb_new_1w1r_8x128_co, (17.56,3.89)))
routeb_new_1w1r_8x128_wr.add(gdstk.Reference(c_routeb_new_1w1r_8x128_co, (17.555,3.86)))
routeb_new_1w1r_8x128_wr.add(gdstk.Reference(routeb_new_1w1r_8x128_co, (19.41,3.89)))
routeb_new_1w1r_8x128_wr.add(gdstk.Reference(c_routeb_new_1w1r_8x128_co, (19.405,3.86)))
routeb_new_1w1r_8x128_wr.add(gdstk.Reference(routeb_new_1w1r_8x128_co, (23.8,3.89)))
routeb_new_1w1r_8x128_wr.add(gdstk.Reference(c_routeb_new_1w1r_8x128_co, (23.795,3.86)))
routeb_new_1w1r_8x128_wr.add(gdstk.Reference(routeb_new_1w1r_8x128_co, (25.65,3.89)))
routeb_new_1w1r_8x128_wr.add(gdstk.Reference(c_routeb_new_1w1r_8x128_co, (25.645,3.86)))
routeb_new_1w1r_8x128_wr.add(gdstk.Reference(routeb_new_1w1r_8x128_co, (30.04,3.89)))
routeb_new_1w1r_8x128_wr.add(gdstk.Reference(c_routeb_new_1w1r_8x128_co, (30.035,3.86)))
routeb_new_1w1r_8x128_wr.add(gdstk.Reference(routeb_new_1w1r_8x128_co, (31.89,3.89)))
routeb_new_1w1r_8x128_wr.add(gdstk.Reference(c_routeb_new_1w1r_8x128_co, (31.885,3.86)))
routeb_new_1w1r_8x128_wr.add(gdstk.Reference(routeb_new_1w1r_8x128_co, (10.77,7.73)))
routeb_new_1w1r_8x128_wr.add(gdstk.Reference(c_routeb_new_1w1r_8x128_co, (10.765,7.705)))
routeb_new_1w1r_8x128_wr.add(gdstk.Reference(routeb_new_1w1r_8x128_co, (13.72,7.73)))
routeb_new_1w1r_8x128_wr.add(gdstk.Reference(c_routeb_new_1w1r_8x128_co, (13.715,7.705)))
routeb_new_1w1r_8x128_wr.add(gdstk.Reference(routeb_new_1w1r_8x128_co, (17.01,7.73)))
routeb_new_1w1r_8x128_wr.add(gdstk.Reference(c_routeb_new_1w1r_8x128_co, (17.005,7.705)))
routeb_new_1w1r_8x128_wr.add(gdstk.Reference(routeb_new_1w1r_8x128_co, (19.96,7.73)))
routeb_new_1w1r_8x128_wr.add(gdstk.Reference(c_routeb_new_1w1r_8x128_co, (19.955,7.705)))
routeb_new_1w1r_8x128_wr.add(gdstk.Reference(routeb_new_1w1r_8x128_co, (23.25,7.73)))
routeb_new_1w1r_8x128_wr.add(gdstk.Reference(c_routeb_new_1w1r_8x128_co, (23.245,7.705)))
routeb_new_1w1r_8x128_wr.add(gdstk.Reference(routeb_new_1w1r_8x128_co, (26.2,7.73)))
routeb_new_1w1r_8x128_wr.add(gdstk.Reference(c_routeb_new_1w1r_8x128_co, (26.195,7.705)))
routeb_new_1w1r_8x128_wr.add(gdstk.Reference(routeb_new_1w1r_8x128_co, (29.49,7.73)))
routeb_new_1w1r_8x128_wr.add(gdstk.Reference(c_routeb_new_1w1r_8x128_co, (29.485,7.705)))
routeb_new_1w1r_8x128_wr.add(gdstk.Reference(routeb_new_1w1r_8x128_co, (32.44,7.73)))
routeb_new_1w1r_8x128_wr.add(gdstk.Reference(c_routeb_new_1w1r_8x128_co, (32.435,7.705)))
routeb_new_1w1r_8x128_wr.add(gdstk.Label('data_0', (10.86,0.16), layer=68, texttype=5))
routeb_new_1w1r_8x128_wr.add(gdstk.Label('bl_0', (10.3,9.925), layer=68, texttype=5))
routeb_new_1w1r_8x128_wr.add(gdstk.Label('br_0', (11.31,9.925), layer=68, texttype=5))
routeb_new_1w1r_8x128_wr.add(gdstk.Label('data_1', (13.95,0.16), layer=68, texttype=5))
routeb_new_1w1r_8x128_wr.add(gdstk.Label('bl_1', (14.51,9.925), layer=68, texttype=5))
routeb_new_1w1r_8x128_wr.add(gdstk.Label('br_1', (13.5,9.925), layer=68, texttype=5))
routeb_new_1w1r_8x128_wr.add(gdstk.Label('data_2', (17.1,0.16), layer=68, texttype=5))
routeb_new_1w1r_8x128_wr.add(gdstk.Label('bl_2', (16.54,9.925), layer=68, texttype=5))
routeb_new_1w1r_8x128_wr.add(gdstk.Label('br_2', (17.55,9.925), layer=68, texttype=5))
routeb_new_1w1r_8x128_wr.add(gdstk.Label('data_3', (20.19,0.16), layer=68, texttype=5))
routeb_new_1w1r_8x128_wr.add(gdstk.Label('bl_3', (20.75,9.925), layer=68, texttype=5))
routeb_new_1w1r_8x128_wr.add(gdstk.Label('br_3', (19.74,9.925), layer=68, texttype=5))
routeb_new_1w1r_8x128_wr.add(gdstk.Label('data_4', (23.34,0.16), layer=68, texttype=5))
routeb_new_1w1r_8x128_wr.add(gdstk.Label('bl_4', (22.78,9.925), layer=68, texttype=5))
routeb_new_1w1r_8x128_wr.add(gdstk.Label('br_4', (23.79,9.925), layer=68, texttype=5))
routeb_new_1w1r_8x128_wr.add(gdstk.Label('data_5', (26.43,0.16), layer=68, texttype=5))
routeb_new_1w1r_8x128_wr.add(gdstk.Label('bl_5', (26.99,9.925), layer=68, texttype=5))
routeb_new_1w1r_8x128_wr.add(gdstk.Label('br_5', (25.98,9.925), layer=68, texttype=5))
routeb_new_1w1r_8x128_wr.add(gdstk.Label('data_6', (29.58,0.16), layer=68, texttype=5))
routeb_new_1w1r_8x128_wr.add(gdstk.Label('bl_6', (29.02,9.925), layer=68, texttype=5))
routeb_new_1w1r_8x128_wr.add(gdstk.Label('br_6', (30.03,9.925), layer=68, texttype=5))
routeb_new_1w1r_8x128_wr.add(gdstk.Label('data_7', (32.67,0.16), layer=68, texttype=5))
routeb_new_1w1r_8x128_wr.add(gdstk.Label('bl_7', (33.23,9.925), layer=68, texttype=5))
routeb_new_1w1r_8x128_wr.add(gdstk.Label('br_7', (32.22,9.925), layer=68, texttype=5))
routeb_new_1w1r_8x128_wr.add(gdstk.Label('en', (16.968,0.54), layer=68, texttype=5))
routeb_new_1w1r_8x128_wr.add(gdstk.Label('vdd', (17.132,1.585), layer=70, texttype=5))
routeb_new_1w1r_8x128_wr.add(gdstk.Label('vdd', (17.132,5.705), layer=70, texttype=5))
routeb_new_1w1r_8x128_wr.add(gdstk.Label('gnd', (17.132,7.89), layer=70, texttype=5))
routeb_new_1w1r_8x128_wr.add(gdstk.Label('gnd', (17.132,4.045), layer=70, texttype=5))

lib.write_gds('routeb_new_1w1r_8x128_write_driver_array.gds')
